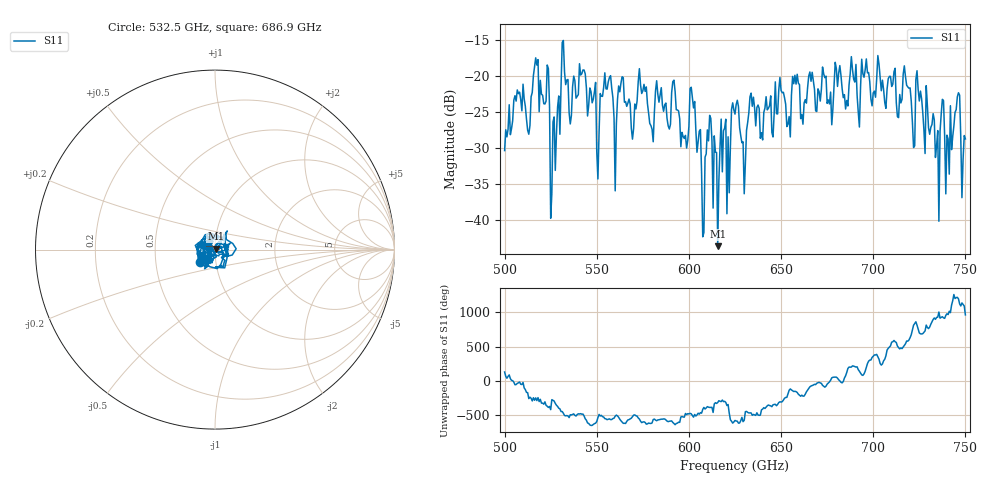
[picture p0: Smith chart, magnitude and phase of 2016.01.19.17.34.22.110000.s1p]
!Created with skrf (http://scikit-rf.org).
# GHz S RI R 50.0
!freq ReS11 ImS11
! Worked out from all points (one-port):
!   401 points, 500 GHz to 750 GHz, reference 50 ohm
!   lowest |S11| = -43.6 dB at 615.6 GHz (marker M1), VSWR 1.01, Z = 50.4 + j0.496 ohm
!   |S11| at or under -10 dB: start of sweep to end of sweep
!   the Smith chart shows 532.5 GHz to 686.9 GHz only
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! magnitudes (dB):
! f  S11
! 500 GHz  -30.4
! 506.9 GHz  -21.9
! 513.1 GHz  -28.1
! 516.9 GHz  -17.5
! 523.1 GHz  -18.5
! 526.2 GHz  -26.4
! 531.2 GHz  -15.4
! 535.6 GHz  -26.7
! 541.9 GHz  -19.7
! 551.2 GHz  -27.9
! 553.1 GHz  -22.8
! 560 GHz  -36.0
! 562.5 GHz  -22.2
! 593.8 GHz  -24.7
! 598.1 GHz  -28.3
! 601.9 GHz  -23.1
! 608.1 GHz  -41.7
! 611.2 GHz  -25.5
! 615.6 GHz  -43.6
! 625 GHz  -25.3
! 629.4 GHz  -29.2
! 633.8 GHz  -22.4
! 656.2 GHz  -20.1
! 687.5 GHz  -19.7
! 718.8 GHz  -21.5
! 735 GHz  -27.6
! 745.6 GHz  -22.9
! 750 GHz  -28.7
